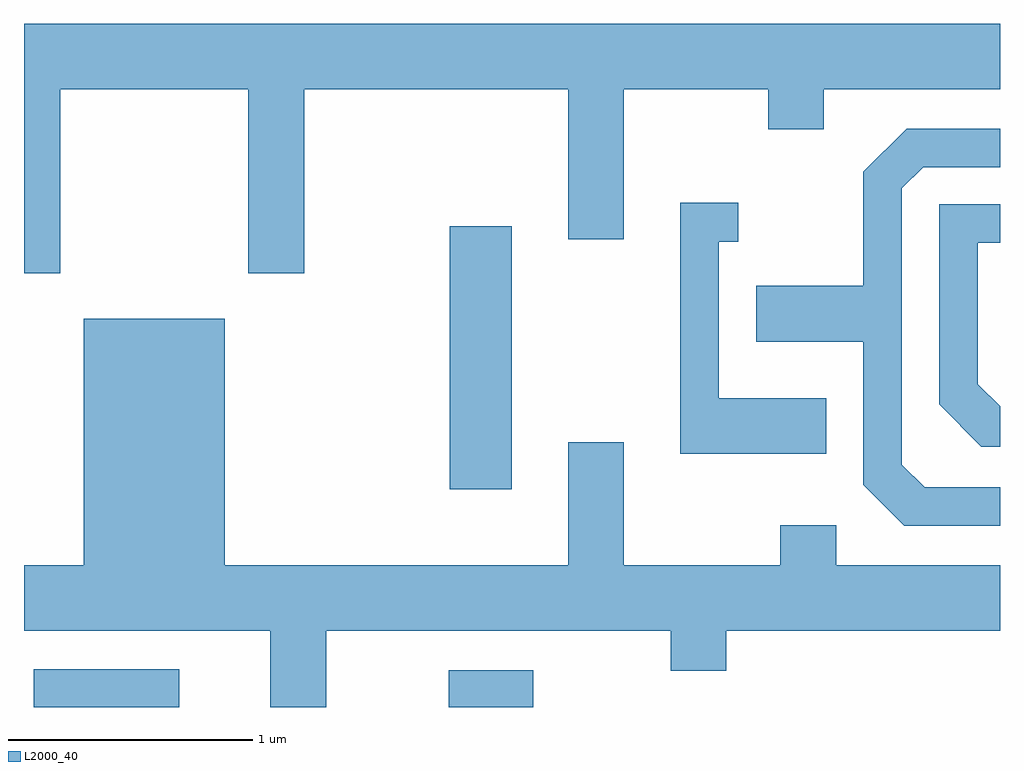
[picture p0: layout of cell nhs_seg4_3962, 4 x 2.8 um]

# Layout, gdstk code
import gdstk
lib = gdstk.Library(unit=1e-6, precision=1e-09)
def R(c, l, rs):  # rectangles x0, y0, x1, y1
    for r in rs: c.add(gdstk.rectangle(r[:2], r[2:], *l))
def P(c, l, *ps):  # polygons
    for p in ps: c.add(gdstk.Polygon(p, *l))
L2000_40 = (2000, 40)

nhs_seg4_3962 = lib.new_cell('nhs_seg4_3962')
R(nhs_seg4_3962, L2000_40, [(301.651,1289.982,302.248,1290.139), (303.351,1289.982,303.698,1290.134), (303.356,1290.876,303.609,1291.954)])
P(nhs_seg4_3962, L2000_40, [(301.759,1292.516),(302.531,1292.516),(302.531,1291.761),(302.759,1291.761),(302.759,1292.516),(303.841,1292.516),(303.841,1291.901),(304.069,1291.901),(304.069,1292.516),(304.661,1292.516),(304.661,1292.351),(304.889,1292.351),(304.889,1292.516),(305.611,1292.516),(305.611,1292.784),(301.611,1292.784),(301.611,1291.761),(301.759,1291.761)],
  [(305.611,1290.884),(305.302,1290.884),(305.209,1290.977),(305.209,1292.109),(305.297,1292.196),(305.611,1292.196),(305.611,1292.354),(305.229,1292.354),(305.051,1292.177),(305.051,1291.709),(304.611,1291.709),(304.611,1291.481),(305.051,1291.481),(305.051,1290.894),(305.219,1290.726),(305.611,1290.726)],
  [(304.899,1291.249),(304.459,1291.249),(304.459,1291.891),(304.538,1291.891),(304.538,1292.049),(304.301,1292.049),(304.301,1291.021),(304.899,1291.021)],
  [(305.611,1291.215),(305.519,1291.307),(305.519,1291.886),(305.611,1291.886),(305.611,1292.044),(305.361,1292.044),(305.361,1291.224),(305.534,1291.051),(305.611,1291.051)],
  [(304.711,1290.729),(304.711,1290.564),(304.069,1290.564),(304.069,1291.069),(303.841,1291.069),(303.841,1290.564),(302.434,1290.564),(302.434,1291.574),(301.856,1291.574),(301.856,1290.564),(301.611,1290.564),(301.611,1290.296),(302.621,1290.296),(302.621,1289.982),(302.849,1289.982),(302.849,1290.296),(304.261,1290.296),(304.261,1290.131),(304.489,1290.131),(304.489,1290.296),(305.611,1290.296),(305.611,1290.564),(304.939,1290.564),(304.939,1290.729)])

lib.write_gds('nhs_seg4_3962.gds')
